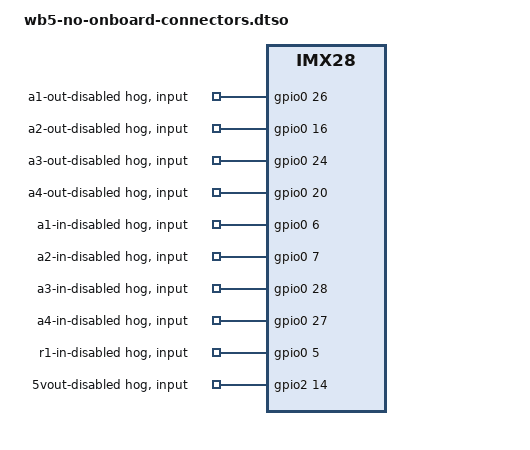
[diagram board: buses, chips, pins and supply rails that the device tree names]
/dts-v1/;
/plugin/;

#include "no-onboard-connectors.dtsi"

/ {
    compatible = "contactless,imx28-wirenboard58","contactless,imx28-wirenboard55", "contactless,imx28-wirenboard52", "contactless,imx28-wirenboard50", "fsl,imx28";

    fragment-no-onboard-connectors-wb5-meta {
        target-path = "/wirenboard/gpios";

        __overlay__ {
            A1_IN {
                status = "disabled";
            };

            A2_IN {
                status = "disabled";
            };
            
            A3_IN {
                status = "disabled";
            };

            A4_IN {
                status = "disabled";
            };
            
            R1_IN {
                status = "disabled";
            };
        };
    };

    fragment-no-onboard-connectors-hog-gpio0 {
        target = <&gpio0>;

        __overlay__ {
            wb-disabled-pins-a1-out {
                gpio-hog;
                gpios = <26 0>;
                input;
                line-name = "a1-out-disabled";
            };
            
            wb-disabled-pins-a2-out {
                gpio-hog;
                gpios = <16 0>;
                input;
                line-name = "a2-out-disabled";
            };
            
            wb-disabled-pins-a3-out {
                gpio-hog;
                gpios = <24 0>;
                input;
                line-name = "a3-out-disabled";
            };
            
            wb-disabled-pins-a4-out {
                gpio-hog;
                gpios = <20 0>;
                input;
                line-name = "a4-out-disabled";
            };
            
            wb-disabled-pins-a1-in {
                gpio-hog;
                gpios = <6 0>;
                input;
                line-name = "a1-in-disabled";
            };
            
            wb-disabled-pins-a2-in {
                gpio-hog;
                gpios = <7 0>;
                input;
                line-name = "a2-in-disabled";
            };
            
            wb-disabled-pins-a3-in {
                gpio-hog;
                gpios = <28 0>;
                input;
                line-name = "a3-in-disabled";
            };
            
            wb-disabled-pins-a4-in {
                gpio-hog;
                gpios = <27 0>;
                input;
                line-name = "a4-in-disabled";
            };
            
            wb-disabled-pins-r1-in {
                gpio-hog;
                gpios = <5 0>;
                input;
                line-name = "r1-in-disabled";
            };
        };
    };

    fragment-no-onboard-connectors-hog-gpio2 {
        target = <&gpio2>;

        __overlay__ {
            wb-disabled-pins-5vout-in {
                gpio-hog;
                gpios = <14 0>;
                input;
                line-name = "5vout-disabled";
            };
        };
    };
    
    fragment-wb5-noonewire {
        target-path = "/onewire@0";

        __overlay__ {
            status = "disabled";
        };
    };
};
